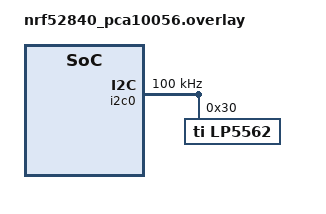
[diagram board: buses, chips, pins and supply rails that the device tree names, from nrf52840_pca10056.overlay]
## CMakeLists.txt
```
# SPDX-License-Identifier: Apache-2.0

cmake_minimum_required(VERSION 3.20.0)

find_package(Zephyr REQUIRED HINTS $ENV{ZEPHYR_BASE})
project(led_lp5562)

FILE(GLOB app_sources src/*.c)
target_sources(app PRIVATE ${app_sources})
```

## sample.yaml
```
sample:
  description: Demonstration of the LP5562 LED driver
  name: LP5562 sample
tests:
  sample.drivers.led.lp5562:
    platform_allow: nrf52840dk_nrf52840
    tags: led
    harness: TBD
```

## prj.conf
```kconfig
CONFIG_LOG=y
CONFIG_I2C=y
CONFIG_LED=y
CONFIG_LP5562=y
```

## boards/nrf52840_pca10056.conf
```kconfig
CONFIG_I2C_0=y
```

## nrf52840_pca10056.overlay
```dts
/* SPDX-License-Identifier: Apache-2.0 */

&i2c0 {
	status = "okay";
	clock-frequency = <I2C_BITRATE_STANDARD>;

	lp5562@30 {
		compatible = "ti,lp5562";
		reg = <0x30>;
		label = "LP5562";
	};
};
```

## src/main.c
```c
/*
 * Copyright (c) 2018 Workaround GmbH
 *
 * SPDX-License-Identifier: Apache-2.0
 */

#include <zephyr/device.h>
#include <errno.h>
#include <zephyr/drivers/led.h>
#include <zephyr/sys/util.h>
#include <zephyr/kernel.h>

#define LOG_LEVEL 4
#include <zephyr/logging/log.h>
LOG_MODULE_REGISTER(main);

#define NUM_LEDS 4
#define BLINK_DELAY_ON 500
#define BLINK_DELAY_OFF 500
#define DELAY_TIME 2000
#define COLORS_TO_SHOW 8
#define VALUES_PER_COLOR 3

/*
 * We assume that the colors are connected the way it is described in the driver
 * datasheet.
 */
#define LED_R 2
#define LED_G 1
#define LED_B 0

/*
 * The following colors are shown in the given order.
 */
static uint8_t colors[COLORS_TO_SHOW][VALUES_PER_COLOR] = {
	{ 0xFF, 0x00, 0x00 }, /*< Red    */
	{ 0x00, 0xFF, 0x00 }, /*< Green  */
	{ 0x00, 0x00, 0xFF }, /*< Blue   */
	{ 0xFF, 0xFF, 0xFF }, /*< White  */
	{ 0xFF, 0xFF, 0x00 }, /*< Yellow */
	{ 0xFF, 0x00, 0xFF }, /*< Purple */
	{ 0x00, 0xFF, 0xFF }, /*< Cyan   */
	{ 0xF4, 0x79, 0x20 }, /*< Orange */
};

/*
 * @brief scale hex values [0x00..0xFF] to percent [0..100].
 *
 * @param hex Hex value.
 *
 * @return Hex value scaled to percent.
 */
static inline uint8_t scale_color_to_percent(uint8_t hex)
{
	return (hex * 100U) / 0xFF;
}

/*
 * @brief Set a color using the three RGB LEDs.
 *
 * @param dev LED device.
 * @param r Red value in hex [0x00..0xFF].
 * @param g Green value in hex [0x00..0xFF].
 * @param b Blue value in hex [0x00..0xFF].
 *
 * @return 0 if successful, -ERRNO otherwise.
 */
static int set_static_color(const struct device *dev, uint8_t r, uint8_t g,
			    uint8_t b)
{
	int ret;

	r = scale_color_to_percent(r);
	g = scale_color_to_percent(g);
	b = scale_color_to_percent(b);

	ret = led_set_brightness(dev, LED_R, r);
	if (ret) {
		LOG_ERR("Failed to set color.");
		return ret;
	}

	ret = led_set_brightness(dev, LED_G, g);
	if (ret) {
		LOG_ERR("Failed to set color.");
		return ret;
	}

	ret = led_set_brightness(dev, LED_B, b);
	if (ret) {
		LOG_ERR("Failed to set color.");
		return ret;
	}

	return 0;
}

/*
 * @brief Blink the LED in the given color.
 *
 * Currently it is only possible to create colors by turning the three LEDs
 * completely on or off. Proper mixing is not supported by the underlying API.
 *
 * @param dev LED device.
 * @param r Blink the red LED.
 * @param g Blink the green LED.
 * @param b Blink the blue LED.
 * @param delay_on Time in ms the LEDs stay on.
 * @param delay_off Time in ms the LEDs stay off.
 *
 * @return 0 if successful, -ERRNO otherwise.
 */
static int blink_color(const struct device *dev, bool r, bool g, bool b,
		       uint32_t delay_on, uint32_t delay_off)
{
	int ret;

	if (r) {
		ret = led_blink(dev, LED_R, delay_on, delay_off);
		if (ret) {
			LOG_ERR("Failed to set color.");
			return ret;
		}
	}

	if (g) {
		ret = led_blink(dev, LED_G, delay_on, delay_off);
		if (ret) {
			LOG_ERR("Failed to set color.");
			return ret;
		}
	}

	if (b) {
		ret = led_blink(dev, LED_B, delay_on, delay_off);
		if (ret) {
			LOG_ERR("Failed to set color.");
			return ret;
		}
	}

	return 0;
}

/*
 * @brief Helper function to turn off all LEDs connected to the driver.
 *
 * @param dev LED driver device.
 *
 * @return 0 if successful, -ERRNO otherwise.
 */
static int turn_off_all_leds(const struct device *dev)
{
	for (int i = 0; i < NUM_LEDS; i++) {
		int ret = led_off(dev, i);

		if (ret) {
			return ret;
		}
	}

	return 0;
}

int main(void)
{
	const struct device *const dev = DEVICE_DT_GET_ANY(ti_lp5562);
	int i, ret;

	if (!dev) {
		LOG_ERR("No \"ti,lp5562\" device found");
		return 0;
	} else if (!device_is_ready(dev)) {
		LOG_ERR("LED device %s is not ready", dev->name);
		return 0;
	} else {
		LOG_INF("Found LED device %s", dev->name);
	}

	LOG_INF("Testing leds");

	while (1) {

		for (i = 0; i < COLORS_TO_SHOW; i++) {
			ret = set_static_color(dev,
					colors[i][0],
					colors[i][1],
					colors[i][2]);
			if (ret) {
				return 0;
			}

			k_msleep(DELAY_TIME);
		}

		ret = turn_off_all_leds(dev);
		if (ret < 0) {
			return 0;
		}

		/* Blink white. */
		ret = blink_color(dev, true, true, true, BLINK_DELAY_ON,
				BLINK_DELAY_OFF);
		if (ret) {
			return 0;
		}

		/* Wait a few blinking before turning off the LEDs */
		k_msleep(DELAY_TIME * 2);

		/* Change the color of the LEDs while keeping blinking. */
		for (i = 0; i < COLORS_TO_SHOW; i++) {
			ret = set_static_color(dev,
					colors[i][0],
					colors[i][1],
					colors[i][2]);
			if (ret) {
				return 0;
			}

			k_msleep(DELAY_TIME * 2);
		}

		ret = turn_off_all_leds(dev);
		if (ret < 0) {
			return 0;
		}

		k_msleep(DELAY_TIME);
	}
	return 0;
}
```
